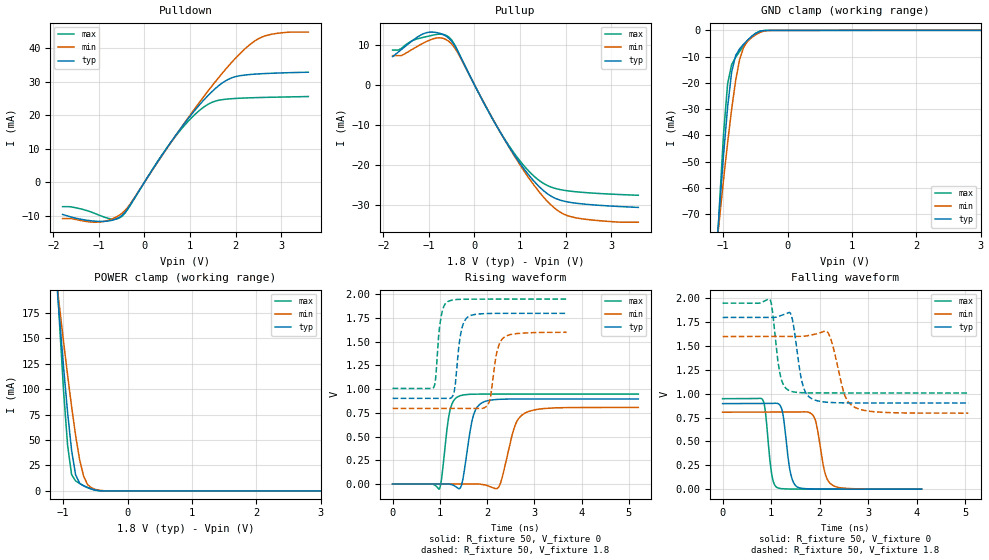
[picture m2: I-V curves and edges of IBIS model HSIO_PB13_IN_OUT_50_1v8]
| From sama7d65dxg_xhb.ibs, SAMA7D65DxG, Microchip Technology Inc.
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|   Model   HSIO_PB13_IN_OUT_50
[Model] HSIO_PB13_IN_OUT_50_1v8
Model_type I/O
Enable   Active-High
Vinl  =  0.54
Vinh  =  1.26
Vmeas =  0.900
| Capacitance   typ   min   max
C_comp   1.163036691660317e-12   1.110531179970373e-12   1.233897269043508e-12
| Variables   typ   min   max
[GND Clamp Reference]   0   0   0
[POWER Clamp Reference]   1.8   1.6   1.95
[Pulldown Reference]   0   0   0
[Pullup Reference]   1.8   1.6   1.95
[Temperature Range]   25   125   -40
[Voltage Range]   1.8   1.6   1.95
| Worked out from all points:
|   slope of the pulldown table from 0 to 0.27 V, typ, clamps not added: 47.3 ohm
|   slope of the pullup table from 0 to 0.27 V, typ, clamps not added: 46.3 ohm
|   GND clamp passes 1 mA (typ) near -0.48 V on its own axis
|   POWER clamp passes 1 mA (typ) near -0.51 V on its own axis
|   falling waveform, R_fixture 50, V_fixture 0: 20-80 % time 132ps typ, 167ps min, 109ps max; typ from 0.897 V to 0 V
|   falling waveform, R_fixture 50, V_fixture 1.8: 20-80 % time 167ps typ, 239ps min, 138ps max; typ from 1.8 V to 0.903 V
|   rising waveform, R_fixture 50, V_fixture 0: 20-80 % time 177ps typ, 252ps min, 138ps max; typ from 0 V to 0.897 V
|   rising waveform, R_fixture 50, V_fixture 1.8: 20-80 % time 123ps typ, 149ps min, 102ps max; typ from 0.903 V to 1.8 V
[GND Clamp]
| Voltage   I(typ)   I(min)   I(max)
-1.8V     -342.3mA   -209.2mA   -383.3mA
-1.117V   -88.41mA   -86.17mA   -95.58mA
-1.055V   -67.24mA   -71.21mA   -65.53mA
-993.1mV  -47.21mA   -56.7mA    -39.17mA
-931mV    -29.36mA   -42.92mA   -20.44mA
-869mV    -16.03mA   -30.19mA   -13.06mA
-806.9mV  -9.642mA   -19.24mA   -10.33mA
-744.8mV  -7.096mA   -11.16mA   -8.045mA
-682.8mV  -5.304mA   -6.514mA   -5.914mA
-496.6mV  -1.217mA   -1.697mA   -1.105mA
-248.3mV  -21.53uA   -36.43uA   -27.1uA
3.6V      0A         0A         0A
[POWER Clamp]
| Voltage   I(typ)   I(min)   I(max)
-1.8V     802.5mA    491.9mA    900.5mA
-1.117V   217.9mA    214.2mA    234.3mA
-1.055V   168.5mA    179.9mA    163.3mA
-993.1mV  121.1mA    146.2mA    97.89mA
-931mV    77.15mA    113.8mA    44.83mA
-869mV    39.82mA    82.92mA    16.06mA
-806.9mV  15.89mA    54.71mA    9.825mA
-744.8mV  7.576mA    31.01mA    7.34mA
-682.8mV  4.957mA    14.53mA    5.181mA
-558.6mV  1.859mA    2.935mA    1.718mA
-372.4mV  36.98uA    212.4uA    18.99uA
3.6V      0A         0A         0A
[Pullup]
| Voltage   I(typ)   I(min)   I(max)
-1.8V     7.025mA    7.268mA    8.668mA
-1.614V   8.726mA    7.268mA    9.018mA
-1.117V   12.75mA    10.44mA    11.84mA
-806.9mV  12.96mA    11.7mA     12.6mA
-620.7mV  12.1mA     11.25mA    12.32mA
-372.4mV  8.424mA    8.097mA    8.584mA
620.7mV   -12.85mA   -12.85mA   -12.74mA
993.1mV   -19.42mA   -19.79mA   -18.84mA
1.366V    -24.7mA    -25.84mA   -23.3mA
1.738V    -28.04mA   -30.47mA   -25.66mA
2.048V    -29.15mA   -32.57mA   -26.38mA
3.6V      -30.51mA   -34.18mA   -27.48mA
[Pulldown]
| Voltage   I(typ)   I(min)   I(max)
-1.8V     -9.592mA   -10.84mA   -7.275mA
-993.1mV  -11.68mA   -11.88mA   -9.833mA
-682.8mV  -11.25mA   -10.79mA   -11mA
-496.6mV  -9.93mA    -9.272mA   -10.18mA
-310.3mV  -6.682mA   -6.41mA    -6.834mA
620.7mV   12.73mA    12.63mA    12.61mA
993.1mV   19.54mA    19.83mA    18.64mA
1.366V    25.42mA    26.66mA    22.97mA
1.862V    30.81mA    34.91mA    24.84mA
2.483V    32.27mA    42.62mA    25.23mA
2.917V    32.54mA    44.38mA    25.37mA
3.6V      32.8mA     44.76mA    25.54mA
[Ramp]
dV/dt_r   0.538133/0.177159n  0.484399/0.251673n  0.569161/0.138037n
dV/dt_f   0.538401/0.167034n  0.482027/0.23872n  0.56534/0.138015n
R_load = 50
[Falling Waveform]
R_fixture = 50
V_fixture = 0
V_fixture_min = 0
V_fixture_max = 0
| Time   V(typ)   V(min)   V(max)
0s        896.9mV    807.3mV    948.6mV
824.3ps   897.7mV    807.8mV    939mV
1.017ns   897.9mV    807.9mV    145.7mV
1.129ns   899.5mV    808mV      15.68mV
1.232ns   817.4mV    808.1mV    4.795mV
1.529ns   26.02mV    808.3mV    716uV
1.886ns   2.116mV    756.8mV    715.2uV
2.122ns   1.013mV    149.9mV    714.8uV
2.273ns   741.4uV    39.47mV    714.5uV
4.102ns   225uV      186.2uV    710.8uV
[Falling Waveform]
R_fixture = 50
V_fixture = 1.8
V_fixture_min = 1.6
V_fixture_max = 1.95
| Time   V(typ)   V(min)   V(max)
0s        1.8V       1.6V       1.95V
973.5ps   1.799V     1.6V       1.99V
1.185ns   1.816V     1.601V     1.205V
1.41ns    1.833V     1.601V     1.026V
1.657ns   1.083V     1.601V     1.01V
1.857ns   943.3mV    1.619V     1.009V
2.178ns   910.4mV    1.637V     1.009V
2.523ns   904.2mV    978.6mV    1.008V
2.735ns   903.4mV    855.8mV    1.008V
5.066ns   903mV      796.8mV    1.008V
[Rising Waveform]
R_fixture = 50
V_fixture = 0
V_fixture_min = 0
V_fixture_max = 0
| Time   V(typ)   V(min)   V(max)
0s        1.315nV    227nV      23.13pV
988.1ps   839.4uV    512.5uV    -53.01mV
1.207ns   -1.394mV   625.9uV    758.7mV
1.427ns   -43.94mV   740uV      930.6mV
1.696ns   696.5mV    879.2uV    946.9mV
1.894ns   856.4mV    -4.692mV   947.9mV
2.247ns   892.6mV    -33.62mV   948.3mV
2.591ns   895.9mV    616mV      948.3mV
2.808ns   895.9mV    748.4mV    948.3mV
5.202ns   896.7mV    807.2mV    948.3mV
[Rising Waveform]
R_fixture = 50
V_fixture = 1.8
V_fixture_min = 1.6
V_fixture_max = 1.95
| Time   V(typ)   V(min)   V(max)
0s        902.7mV    796.6mV    1.008V
868.8ps   901.9mV    796.2mV    1.017V
1.014ns   901.8mV    796.1mV    1.722V
1.165ns   901mV      796.1mV    1.922V
1.299ns   963.2mV    796mV      1.942V
1.445ns   1.589V     795.9mV    1.948V
1.595ns   1.762V     795.9mV    1.949V
2.034ns   1.798V     849.2mV    1.949V
2.339ns   1.799V     1.538V     1.95V
3.685ns   1.799V     1.6V       1.95V
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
